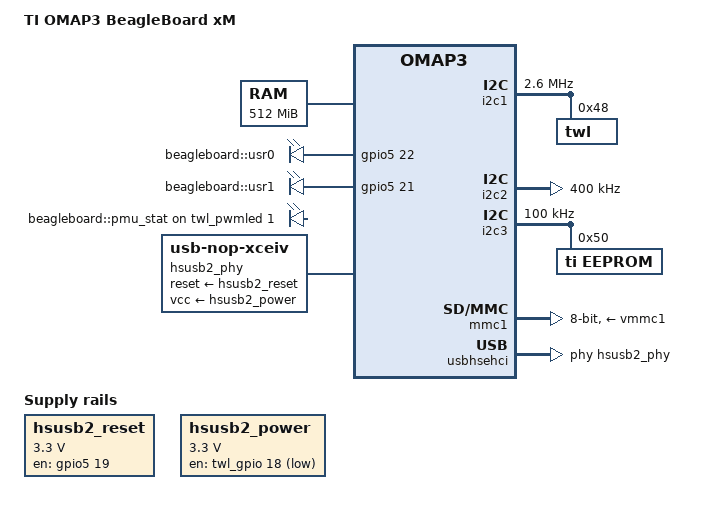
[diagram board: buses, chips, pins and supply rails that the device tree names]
/*
 * Copyright (C) 2011 Texas Instruments Incorporated - http://www.ti.com/
 *
 * This program is free software; you can redistribute it and/or modify
 * it under the terms of the GNU General Public License version 2 as
 * published by the Free Software Foundation.
 */

/* Beagle xM Rev. C */

/dts-v1/;

/include/ "omap36xx.dtsi"

/ {
	model = "TI OMAP3 BeagleBoard xM";
	compatible = "ti,omap3-beagle-xm, ti,omap3-beagle", "ti,omap3";

	cpus {
		cpu@0 {
			cpu0-supply = <&vcc>;
		};
	};

	memory {
		device_type = "memory";
		reg = <0x80000000 0x20000000>; /* 512 MB */
	};

	leds {
		compatible = "gpio-leds";

		heartbeat {
			label = "beagleboard::usr0";
			gpios = <&gpio5 22 0>; /* 150 -> D6 LED */
			linux,default-trigger = "heartbeat";
		};

		mmc {
			label = "beagleboard::usr1";
			gpios = <&gpio5 21 0>; /* 149 -> D7 LED */
			linux,default-trigger = "mmc0";
		};
	};

	pwmleds {
		compatible = "pwm-leds";

		pmu_stat {
			label = "beagleboard::pmu_stat";
			pwms = <&twl_pwmled 1 7812500>;
			max-brightness = <127>;
		};
	};

	sound {
		compatible = "ti,omap-twl4030";
		ti,model = "omap3beagle";

		ti,mcbsp = <&mcbsp2>;
		ti,codec = <&twl_audio>;
	};

	/* HS USB Port 2 RESET */
	hsusb2_reset: hsusb2_reset_reg {
		compatible = "regulator-fixed";
		regulator-name = "hsusb2_reset";
		regulator-min-microvolt = <3300000>;
		regulator-max-microvolt = <3300000>;
		gpio = <&gpio5 19 0>;	/* gpio_147 */
		startup-delay-us = <70000>;
		enable-active-high;
	};

	/* HS USB Port 2 Power */
	hsusb2_power: hsusb2_power_reg {
		compatible = "regulator-fixed";
		regulator-name = "hsusb2_vbus";
		regulator-min-microvolt = <3300000>;
		regulator-max-microvolt = <3300000>;
		gpio = <&twl_gpio 18 0>;	/* GPIO LEDA */
		startup-delay-us = <70000>;
	};

	/* HS USB Host PHY on PORT 2 */
	hsusb2_phy: hsusb2_phy {
		compatible = "usb-nop-xceiv";
		reset-supply = <&hsusb2_reset>;
		vcc-supply = <&hsusb2_power>;
	};

};

&omap3_pmx_core {
	pinctrl-names = "default";
	pinctrl-0 = <
			&hsusbb2_pins
	>;

	hsusbb2_pins: pinmux_hsusbb2_pins {
		pinctrl-single,pins = <
			0x5c0 0x3  /* USBB2_ULPITLL_CLK_MUXMODE.usbb1_ulpiphy_clk OUTPUT */
			0x5c2 0x3  /* USBB2_ULPITLL_CLK_MUXMODE.usbb1_ulpiphy_stp OUTPUT */
			0x5c4 0x10b  /* USBB2_ULPITLL_CLK_MUXMODE.usbb1_ulpiphy_dir INPUT | PULLDOWN */
			0x5c6 0x10b  /* USBB2_ULPITLL_CLK_MUXMODE.usbb1_ulpiphy_nxt INPUT | PULLDOWN */
			0x5c8 0x10b  /* USBB2_ULPITLL_CLK_MUXMODE.usbb1_ulpiphy_dat0 INPUT | PULLDOWN */
			0x5cA 0x10b  /* USBB2_ULPITLL_CLK_MUXMODE.usbb1_ulpiphy_dat1 INPUT | PULLDOWN */
			0x1a4 0x10b  /* USBB2_ULPITLL_CLK_MUXMODE.usbb1_ulpiphy_dat2 INPUT | PULLDOWN */
			0x1a6 0x10b  /* USBB2_ULPITLL_CLK_MUXMODE.usbb1_ulpiphy_dat3 INPUT | PULLDOWN */
			0x1a8 0x10b  /* USBB2_ULPITLL_CLK_MUXMODE.usbb1_ulpiphy_dat4 INPUT | PULLDOWN */
			0x1aa 0x10b  /* USBB2_ULPITLL_CLK_MUXMODE.usbb1_ulpiphy_dat5 INPUT | PULLDOWN */
			0x1ac 0x10b  /* USBB2_ULPITLL_CLK_MUXMODE.usbb1_ulpiphy_dat6 INPUT | PULLDOWN */
			0x1ae 0x10b  /* USBB2_ULPITLL_CLK_MUXMODE.usbb1_ulpiphy_dat7 INPUT | PULLDOWN */
		>;
	};
};

&i2c1 {
	clock-frequency = <2600000>;

	twl: twl@48 {
		reg = <0x48>;
		interrupts = <7>; /* SYS_NIRQ cascaded to intc */
		interrupt-parent = <&intc>;

		twl_audio: audio {
			compatible = "ti,twl4030-audio";
			codec {
			};
		};
	};
};

/include/ "twl4030.dtsi"

&i2c2 {
	clock-frequency = <400000>;
};

&i2c3 {
	clock-frequency = <100000>;

	/*
	 * Display monitor features are burnt in the EEPROM
	 * as EDID data.
	 */
	eeprom@50 {
		compatible = "ti,eeprom";
		reg = <0x50>;
	};
};

&mmc1 {
	vmmc-supply = <&vmmc1>;
	vmmc_aux-supply = <&vsim>;
	bus-width = <8>;
};

&mmc2 {
	status = "disabled";
};

&mmc3 {
	status = "disabled";
};

&twl_gpio {
	ti,use-leds;
	/* pullups: BIT(1) */
	ti,pullups = <0x000002>;
	/*
	 * pulldowns:
	 * BIT(2), BIT(6), BIT(7), BIT(8), BIT(13)
	 * BIT(15), BIT(16), BIT(17)
	 */
	ti,pulldowns = <0x03a1c4>;
};

&usb_otg_hs {
	interface-type = <0>;
	mode = <3>;
	power = <50>;
};

&usbhshost {
	port2-mode = "ehci-phy";
};

&usbhsehci {
	phys = <0 &hsusb2_phy>;
};
